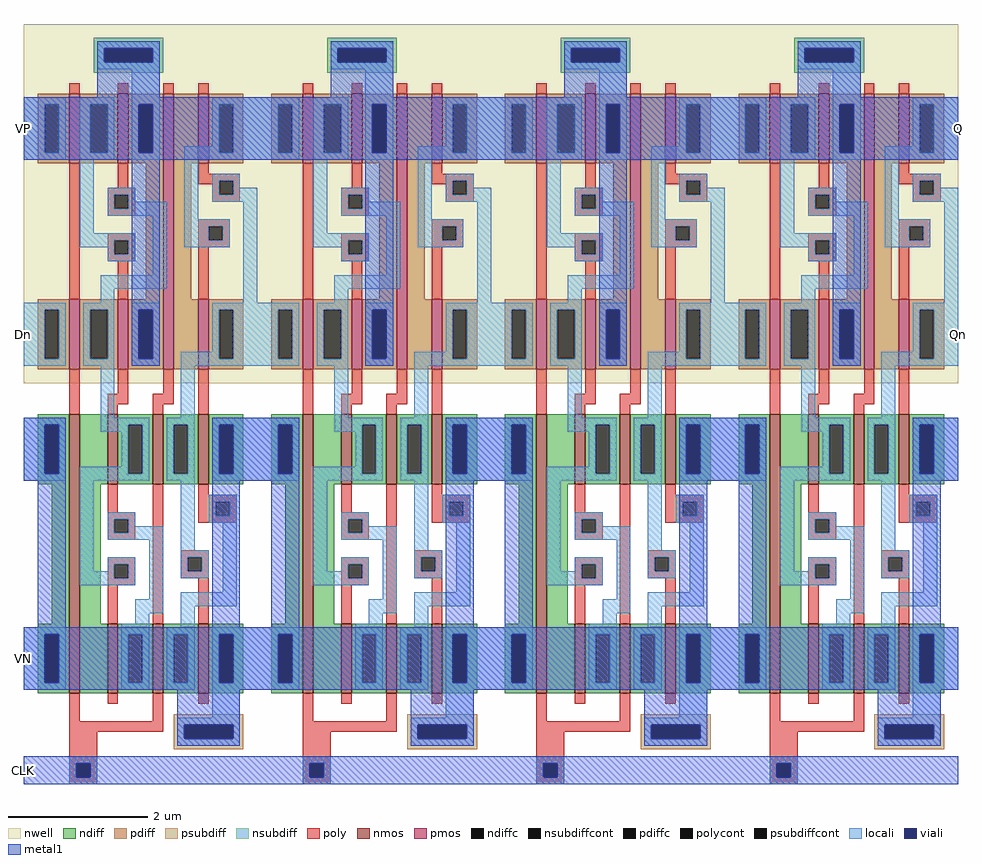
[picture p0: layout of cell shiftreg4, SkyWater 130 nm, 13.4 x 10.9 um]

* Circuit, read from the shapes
.subckt shiftreg4 CLK D Dn Q Qn VN VP
XM1 n1 CLK VN VN sky130_fd_pr__nfet_01v8 w=4 l=0.15
XM2 n2 n3 n1 VN sky130_fd_pr__nfet_01v8 w=1 l=0.15
XM3 n3 n2 n1 VN sky130_fd_pr__nfet_01v8 w=1 l=0.15
XM4 dflipflop_1/D CLK n2 VN sky130_fd_pr__nfet_01v8 w=1 l=0.15
XM5 dflipflop_1/Dn CLK n3 VN sky130_fd_pr__nfet_01v8 w=1 l=0.15
XM6 VN dflipflop_1/Dn dflipflop_1/D VN sky130_fd_pr__nfet_01v8 w=1 l=0.15
XM7 VN dflipflop_1/D dflipflop_1/Dn VN sky130_fd_pr__nfet_01v8 w=1 l=0.15
XM8 n4 CLK VN VN sky130_fd_pr__nfet_01v8 w=4 l=0.15
XM9 n5 n6 n4 VN sky130_fd_pr__nfet_01v8 w=1 l=0.15
XM10 n6 n5 n4 VN sky130_fd_pr__nfet_01v8 w=1 l=0.15
XM11 dflipflop_2/D CLK n5 VN sky130_fd_pr__nfet_01v8 w=1 l=0.15
XM12 dflipflop_2/Dn CLK n6 VN sky130_fd_pr__nfet_01v8 w=1 l=0.15
XM13 VN dflipflop_2/Dn dflipflop_2/D VN sky130_fd_pr__nfet_01v8 w=1 l=0.15
XM14 VN dflipflop_2/D dflipflop_2/Dn VN sky130_fd_pr__nfet_01v8 w=1 l=0.15
XM15 n7 CLK VN VN sky130_fd_pr__nfet_01v8 w=4 l=0.15
XM16 n8 n9 n7 VN sky130_fd_pr__nfet_01v8 w=1 l=0.15
XM17 n9 n8 n7 VN sky130_fd_pr__nfet_01v8 w=1 l=0.15
XM18 dflipflop_3/D CLK n8 VN sky130_fd_pr__nfet_01v8 w=1 l=0.15
XM19 dflipflop_3/Dn CLK n9 VN sky130_fd_pr__nfet_01v8 w=1 l=0.15
XM20 VN dflipflop_3/Dn dflipflop_3/D VN sky130_fd_pr__nfet_01v8 w=1 l=0.15
XM21 VN dflipflop_3/D dflipflop_3/Dn VN sky130_fd_pr__nfet_01v8 w=1 l=0.15
XM22 n10 CLK VN VN sky130_fd_pr__nfet_01v8 w=4 l=0.15
XM23 n11 n12 n10 VN sky130_fd_pr__nfet_01v8 w=1 l=0.15
XM24 n12 n11 n10 VN sky130_fd_pr__nfet_01v8 w=1 l=0.15
XM25 Q CLK n11 VN sky130_fd_pr__nfet_01v8 w=1 l=0.15
XM26 Qn CLK n12 VN sky130_fd_pr__nfet_01v8 w=1 l=0.15
XM27 VN Qn Q VN sky130_fd_pr__nfet_01v8 w=1 l=0.15
XM28 VN Q Qn VN sky130_fd_pr__nfet_01v8 w=1 l=0.15
XM29 n3 CLK Dn VP sky130_fd_pr__pfet_01v8 w=1 l=0.15
XM30 n2 CLK D VP sky130_fd_pr__pfet_01v8 w=1 l=0.15
XM31 VP n2 n3 VP sky130_fd_pr__pfet_01v8 w=1 l=0.15
XM32 VP n3 n2 VP sky130_fd_pr__pfet_01v8 w=1 l=0.15
XM33 n13 CLK VP VP sky130_fd_pr__pfet_01v8 w=3.95 l=0.15
XM34 dflipflop_1/Dn dflipflop_1/D n13 VP sky130_fd_pr__pfet_01v8 w=1 l=0.15
XM35 dflipflop_1/D dflipflop_1/Dn n13 VP sky130_fd_pr__pfet_01v8 w=1 l=0.15
XM36 n6 CLK dflipflop_1/Dn VP sky130_fd_pr__pfet_01v8 w=1 l=0.15
XM37 n5 CLK dflipflop_1/D VP sky130_fd_pr__pfet_01v8 w=1 l=0.15
XM38 VP n5 n6 VP sky130_fd_pr__pfet_01v8 w=1 l=0.15
XM39 VP n6 n5 VP sky130_fd_pr__pfet_01v8 w=1 l=0.15
XM40 n14 CLK VP VP sky130_fd_pr__pfet_01v8 w=3.95 l=0.15
XM41 dflipflop_2/Dn dflipflop_2/D n14 VP sky130_fd_pr__pfet_01v8 w=1 l=0.15
XM42 dflipflop_2/D dflipflop_2/Dn n14 VP sky130_fd_pr__pfet_01v8 w=1 l=0.15
XM43 n9 CLK dflipflop_2/Dn VP sky130_fd_pr__pfet_01v8 w=1 l=0.15
XM44 n8 CLK dflipflop_2/D VP sky130_fd_pr__pfet_01v8 w=1 l=0.15
XM45 VP n8 n9 VP sky130_fd_pr__pfet_01v8 w=1 l=0.15
XM46 VP n9 n8 VP sky130_fd_pr__pfet_01v8 w=1 l=0.15
XM47 n15 CLK VP VP sky130_fd_pr__pfet_01v8 w=3.95 l=0.15
XM48 dflipflop_3/Dn dflipflop_3/D n15 VP sky130_fd_pr__pfet_01v8 w=1 l=0.15
XM49 dflipflop_3/D dflipflop_3/Dn n15 VP sky130_fd_pr__pfet_01v8 w=1 l=0.15
XM50 n12 CLK dflipflop_3/Dn VP sky130_fd_pr__pfet_01v8 w=1 l=0.15
XM51 n11 CLK dflipflop_3/D VP sky130_fd_pr__pfet_01v8 w=1 l=0.15
XM52 VP n11 n12 VP sky130_fd_pr__pfet_01v8 w=1 l=0.15
XM53 VP n12 n11 VP sky130_fd_pr__pfet_01v8 w=1 l=0.15
XM54 n16 CLK VP VP sky130_fd_pr__pfet_01v8 w=3.95 l=0.15
XM55 Qn Q n16 VP sky130_fd_pr__pfet_01v8 w=1 l=0.15
XM56 Q Qn n16 VP sky130_fd_pr__pfet_01v8 w=1 l=0.15
.ends

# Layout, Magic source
magic
tech sky130A
<< locali >>
rect 0 895 20 985
rect 1320 895 1340 985
rect 0 600 20 690
rect 1320 600 1340 690
<< metal1 >>
rect 0 895 20 985
rect 0 135 20 225
rect 0 0 20 40
use dflipflop  dflipflop_0
transform 1 0 85 0 1 145
box -85 -145 250 945
use dflipflop  dflipflop_1
transform 1 0 420 0 1 145
box -85 -145 250 945
use dflipflop  dflipflop_2
transform 1 0 755 0 1 145
box -85 -145 250 945
use dflipflop  dflipflop_3
transform 1 0 1090 0 1 145
box -85 -145 250 945
<< labels >>
rlabel metal1 0 940 0 940 7 VP
rlabel locali 0 940 0 940 7 D
rlabel locali 0 645 0 645 7 Dn
rlabel metal1 0 180 0 180 7 VN
rlabel metal1 0 20 0 20 7 CLK
rlabel locali 1340 645 1340 645 3 Qn
rlabel locali 1340 940 1340 940 3 Q
<< end >>

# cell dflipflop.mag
magic
tech sky130A
<< nwell >>
rect -85 430 250 945
<< nmos >>
rect -20 -15 -5 385
rect 35 285 50 385
rect 100 285 115 385
rect 165 285 180 385
rect 35 -15 50 85
rect 100 -15 115 85
rect 165 -15 180 85
<< pmos >>
rect -20 745 -5 845
rect 50 745 65 845
rect -20 450 -5 550
rect 50 450 65 550
rect 115 450 130 845
rect 165 745 180 845
rect 165 450 180 550
<< ndiff >>
rect -65 370 -20 385
rect -65 300 -55 370
rect -35 300 -20 370
rect -65 285 -20 300
rect -45 85 -20 285
rect -65 70 -20 85
rect -65 0 -55 70
rect -35 0 -20 70
rect -65 -15 -20 0
rect -5 285 35 385
rect 50 370 100 385
rect 50 300 65 370
rect 85 300 100 370
rect 50 285 100 300
rect 115 370 165 385
rect 115 300 130 370
rect 150 300 165 370
rect 115 285 165 300
rect 180 370 230 385
rect 180 300 195 370
rect 215 300 230 370
rect 180 285 230 300
rect -5 85 25 285
rect -5 -15 35 85
rect 50 70 100 85
rect 50 0 65 70
rect 85 0 100 70
rect 50 -15 100 0
rect 115 70 165 85
rect 115 0 130 70
rect 150 0 165 70
rect 115 -15 165 0
rect 180 70 230 85
rect 180 0 195 70
rect 215 0 230 70
rect 180 -15 230 0
<< pdiff >>
rect -65 830 -20 845
rect -65 760 -55 830
rect -35 760 -20 830
rect -65 745 -20 760
rect -5 830 50 845
rect -5 760 10 830
rect 35 760 50 830
rect -5 745 50 760
rect 65 830 115 845
rect 65 760 80 830
rect 100 760 115 830
rect 65 745 115 760
rect 90 550 115 745
rect -65 535 -20 550
rect -65 465 -55 535
rect -35 465 -20 535
rect -65 450 -20 465
rect -5 535 50 550
rect -5 465 10 535
rect 35 465 50 535
rect -5 450 50 465
rect 65 535 115 550
rect 65 465 80 535
rect 100 465 115 535
rect 65 450 115 465
rect 130 745 165 845
rect 180 830 230 845
rect 180 760 195 830
rect 215 760 230 830
rect 180 745 230 760
rect 130 550 155 745
rect 130 450 165 550
rect 180 535 230 550
rect 180 465 195 535
rect 215 465 230 535
rect 180 450 230 465
<< ndiffc >>
rect -55 300 -35 370
rect -55 0 -35 70
rect 65 300 85 370
rect 130 300 150 370
rect 195 300 215 370
rect 65 0 85 70
rect 130 0 150 70
rect 195 0 215 70
<< pdiffc >>
rect -55 760 -35 830
rect 10 760 35 830
rect 80 760 100 830
rect -55 465 -35 535
rect 10 465 35 535
rect 80 465 100 535
rect 195 760 215 830
rect 195 465 215 535
<< psubdiff >>
rect 130 -60 230 -45
rect 130 -80 145 -60
rect 215 -80 230 -60
rect 130 -95 230 -80
<< nsubdiff >>
rect 15 910 115 925
rect 15 890 30 910
rect 100 890 115 910
rect 15 875 115 890
<< psubdiffcont >>
rect 145 -80 215 -60
<< nsubdiffcont >>
rect 30 890 100 910
<< poly >>
rect -20 845 -5 860
rect 50 845 65 860
rect 115 845 130 860
rect 165 845 180 860
rect -20 550 -5 745
rect 50 710 65 745
rect 35 700 75 710
rect 35 680 45 700
rect 65 680 75 700
rect 35 670 75 680
rect 35 635 75 645
rect 35 615 45 635
rect 65 615 75 635
rect 35 605 75 615
rect 50 550 65 605
rect 165 730 180 745
rect 165 720 225 730
rect 165 715 195 720
rect 185 700 195 715
rect 215 700 225 720
rect 185 690 225 700
rect 165 655 210 665
rect 165 635 180 655
rect 200 635 210 655
rect 165 625 210 635
rect 165 550 180 625
rect -20 385 -5 450
rect 50 415 65 450
rect 115 415 130 450
rect 35 400 65 415
rect 100 400 130 415
rect 35 385 50 400
rect 100 385 115 400
rect 165 385 180 450
rect 35 245 50 285
rect 35 235 75 245
rect 35 215 45 235
rect 65 215 75 235
rect 35 205 75 215
rect 35 170 75 180
rect 35 150 45 170
rect 65 150 75 170
rect 35 140 75 150
rect 35 85 50 140
rect 100 85 115 285
rect 165 270 180 285
rect 165 260 220 270
rect 165 240 190 260
rect 210 240 220 260
rect 165 230 220 240
rect 140 180 180 190
rect 140 160 150 180
rect 170 160 180 180
rect 140 150 180 160
rect 165 85 180 150
rect -20 -55 -5 -15
rect 35 -30 50 -15
rect 100 -55 115 -15
rect 165 -30 180 -15
rect -20 -70 115 -55
rect -20 -115 20 -70
rect -20 -135 -10 -115
rect 10 -135 20 -115
rect -20 -145 20 -135
<< polycont >>
rect 45 680 65 700
rect 45 615 65 635
rect 195 700 215 720
rect 180 635 200 655
rect 45 215 65 235
rect 45 150 65 170
rect 190 240 210 260
rect 150 160 170 180
rect -10 -135 10 -115
<< locali >>
rect 20 910 110 920
rect 20 890 30 910
rect 100 890 110 910
rect 20 880 110 890
rect -85 830 -25 840
rect -85 760 -55 830
rect -35 760 -25 830
rect -85 750 -25 760
rect -5 830 45 840
rect -5 760 10 830
rect 35 760 45 830
rect -5 750 45 760
rect 70 830 110 880
rect 70 760 80 830
rect 100 760 110 830
rect 185 830 250 840
rect 185 770 195 830
rect 70 750 110 760
rect 145 760 195 770
rect 215 760 250 830
rect 145 750 250 760
rect -5 645 15 750
rect 35 700 75 710
rect 35 680 45 700
rect 65 690 75 700
rect 65 680 120 690
rect 35 670 120 680
rect -5 635 75 645
rect -5 625 45 635
rect 35 615 45 625
rect 65 615 75 635
rect 35 605 75 615
rect 100 585 120 670
rect 145 665 165 750
rect 185 720 225 730
rect 185 700 195 720
rect 215 710 225 720
rect 215 700 250 710
rect 185 690 250 700
rect 145 655 210 665
rect 145 635 180 655
rect 200 635 210 655
rect 145 625 210 635
rect 25 565 120 585
rect 25 545 45 565
rect 230 545 250 690
rect -85 535 -25 545
rect -85 465 -55 535
rect -35 465 -25 535
rect -85 455 -25 465
rect 0 535 45 545
rect 0 465 10 535
rect 35 465 45 535
rect 0 455 45 465
rect 70 535 110 545
rect 70 465 80 535
rect 100 465 110 535
rect 185 535 250 545
rect 185 475 195 535
rect 70 455 110 465
rect 140 465 195 475
rect 215 465 250 535
rect 140 455 250 465
rect 25 380 45 455
rect 140 380 160 455
rect -85 370 -25 380
rect -85 300 -55 370
rect -35 300 -25 370
rect 25 370 95 380
rect 25 360 65 370
rect 55 310 65 360
rect -85 290 -25 300
rect -5 300 65 310
rect 85 300 95 370
rect -5 290 95 300
rect 120 370 160 380
rect 120 300 130 370
rect 150 300 160 370
rect 120 290 160 300
rect 185 370 250 380
rect 185 300 195 370
rect 215 300 250 370
rect 185 290 250 300
rect -5 160 15 290
rect 35 235 75 245
rect 35 215 45 235
rect 65 225 75 235
rect 65 215 115 225
rect 35 205 115 215
rect 35 170 75 180
rect 35 160 45 170
rect -5 150 45 160
rect 65 150 75 170
rect -5 140 75 150
rect 95 120 115 205
rect 140 190 160 290
rect 180 260 220 270
rect 180 240 190 260
rect 210 240 220 260
rect 180 230 220 240
rect 140 180 180 190
rect 140 160 150 180
rect 170 160 180 180
rect 140 150 180 160
rect 200 130 220 230
rect 75 100 115 120
rect 140 110 220 130
rect 75 85 95 100
rect -85 70 -25 80
rect -85 0 -55 70
rect -35 0 -25 70
rect -85 -10 -25 0
rect 55 70 95 85
rect 140 80 160 110
rect 55 0 65 70
rect 85 0 95 70
rect 55 -10 95 0
rect 120 70 160 80
rect 120 0 130 70
rect 150 0 160 70
rect 120 -10 160 0
rect 185 70 250 80
rect 185 0 195 70
rect 215 0 250 70
rect 185 -10 250 0
rect 185 -50 225 -10
rect 135 -60 225 -50
rect 135 -80 145 -60
rect 215 -80 225 -60
rect 135 -90 225 -80
rect -20 -115 20 -105
rect -20 -135 -10 -115
rect 10 -135 20 -115
rect -20 -145 20 -135
<< viali >>
rect 30 890 100 910
rect 80 760 100 830
rect 80 465 100 535
rect -55 300 -35 370
rect 195 300 215 370
rect -55 0 -35 70
rect 195 0 215 70
rect 145 -80 215 -60
rect -10 -135 10 -115
<< metal1 >>
rect 20 910 110 920
rect 20 890 30 910
rect 100 890 110 910
rect 20 840 110 890
rect -85 830 250 840
rect -85 760 80 830
rect 100 760 250 830
rect -85 750 250 760
rect 70 535 110 750
rect 70 465 80 535
rect 100 465 110 535
rect 70 455 110 465
rect -85 370 -25 380
rect -85 300 -55 370
rect -35 300 -25 370
rect -85 290 -25 300
rect -65 80 -25 290
rect 185 370 250 380
rect 185 300 195 370
rect 215 300 250 370
rect 185 290 250 300
rect 185 80 225 290
rect -85 70 250 80
rect -85 0 -55 70
rect -35 0 195 70
rect 215 0 250 70
rect -85 -10 250 0
rect 135 -60 225 -10
rect 135 -80 145 -60
rect 215 -80 225 -60
rect 135 -90 225 -80
rect -85 -115 250 -105
rect -85 -135 -10 -115
rect 10 -135 250 -115
rect -85 -145 250 -135
<< labels >>
rlabel locali -85 795 -85 795 7 D
port 2 w
rlabel locali -85 500 -85 500 7 Dn
port 4 w
rlabel locali 250 500 250 500 3 Qn
port 5 e
rlabel locali 250 795 250 795 3 Q
port 3 e
rlabel metal1 -85 35 -85 35 7 VN
port 6 w
rlabel metal1 -85 -125 -85 -125 7 CLK
port 7 w
rlabel metal1 -85 795 -85 795 7 VP
port 1 w
<< end >>
